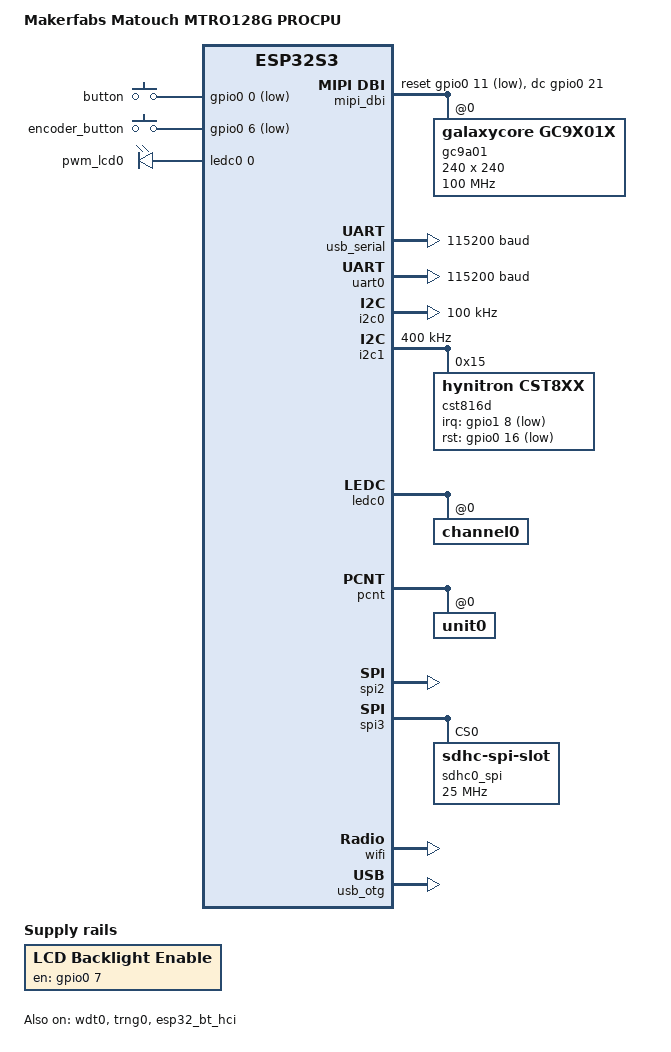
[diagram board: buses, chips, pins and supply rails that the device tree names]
/*
 * Copyright (c) 2026 Sahaj Sarup
 *
 * SPDX-License-Identifier: Apache-2.0
 */
/dts-v1/;

#include <zephyr/dt-bindings/display/panel.h>
#include <zephyr/dt-bindings/mipi_dbi/mipi_dbi.h>
#include <espressif/esp32s3/esp32s3_common.dtsi>
#include <zephyr/dt-bindings/input/input-event-codes.h>
#include <zephyr/dt-bindings/pwm/pwm.h>
#include <zephyr/dt-bindings/input/esp32-touch-sensor-input.h>
#include <espressif/partitions_0x0_amp.dtsi>
#include "matouch_mtro128g-pinctrl.dtsi"

/ {
	model = "Makerfabs Matouch MTRO128G PROCPU";
	compatible = "espressif,esp32s3";

	aliases {
		i2c-0 = &i2c0;
		pwm-0 = &ledc0;
		pwm-lcd0 = &pwm_lcd0;
		watchdog0 = &wdt0;
		uart-0 = &uart0;
		sw0 = &button;
		qdec0 = &pcnt;
	};

	chosen {
		zephyr,sram = &sram1;
		zephyr,console = &usb_serial;
		zephyr,shell-uart = &usb_serial;
		zephyr,flash = &flash0;
		zephyr,code-partition = &slot0_partition;
		zephyr,bt-hci = &esp32_bt_hci;
		zephyr,display = &gc9a01;
		zephyr,touch = &cst816d;
	};

	keys: keys {
		compatible = "gpio-keys";
		debounce-interval-ms = <10>;

		button: button {
			gpios = <&gpio0 0 (GPIO_ACTIVE_LOW | GPIO_PULL_UP)>;
			zephyr,code = <INPUT_KEY_0>;
		};

		encoder_button: encoder_button {
			gpios = <&gpio0 6 (GPIO_ACTIVE_LOW | GPIO_PULL_UP)>;
			zephyr,code = <INPUT_KEY_ENTER>;
		};
	};

	lcd_backlight_en {
		compatible = "regulator-fixed";
		regulator-name = "LCD Backlight Enable";
		enable-gpios = <&gpio0 7 GPIO_ACTIVE_HIGH>;
		regulator-boot-on;
	};

	pwmleds {
		compatible = "pwm-leds";

		pwm_lcd0: pwm_lcd0 {
			pwms = <&ledc0 0 PWM_HZ(250) PWM_POLARITY_NORMAL>;
		};
	};

	mipi_dbi {
		compatible = "zephyr,mipi-dbi-spi";
		status = "okay";
		#address-cells = <1>;
		#size-cells = <0>;
		spi-dev = <&spi2>;
		dc-gpios = <&gpio0 21 GPIO_ACTIVE_HIGH>;
		reset-gpios = <&gpio0 11 GPIO_ACTIVE_LOW>;
		write-only;

		gc9a01: gc9a01@0 {
			status = "okay";
			compatible = "galaxycore,gc9x01x";
			reg = <0>;
			mipi-max-frequency = <DT_FREQ_M(100)>;
			pixel-format = <PANEL_PIXEL_FORMAT_RGB_565>;
			display-inversion;
			width = <240>;
			height = <240>;
		};
	};
};

&usb_serial {
	status = "okay";
	current-speed = <115200>;
};

&uart0 {
	status = "okay";
	current-speed = <115200>;
	pinctrl-0 = <&uart0_default>;
	pinctrl-names = "default";
};

&gpio0 {
	status = "okay";
};

&gpio1 {
	status = "okay";
};

&i2c0 {
	clock-frequency = <I2C_BITRATE_STANDARD>;
	pinctrl-0 = <&i2c0_default>;
	pinctrl-names = "default";
};

&i2c1 {
	clock-frequency = <I2C_BITRATE_FAST>;
	pinctrl-0 = <&i2c1_default>;
	pinctrl-names = "default";
	#address-cells = <1>;
	#size-cells = <0>;
	status = "okay";

	cst816d: cst816d@15 {
		compatible = "hynitron,cst8xx";
		reg = <0x15>;
		irq-gpios = <&gpio1 8 GPIO_ACTIVE_LOW>;
		rst-gpios = <&gpio0 16 GPIO_ACTIVE_LOW>;
	};
};

&ledc0 {
	status = "okay";
	pinctrl-0 = <&ledc0_default>;
	pinctrl-names = "default";
	#address-cells = <1>;
	#size-cells = <0>;

	channel0@0 {
		reg = <0x0>;
		timer = <0>;
	};
};

&pcnt {
	pinctrl-0 = <&pcnt0_default>;
	pinctrl-names = "default";
	status = "okay";
	#address-cells = <1>;
	#size-cells = <0>;

	unit0@0 {
		reg = <0>;
		#address-cells = <1>;
		#size-cells = <0>;
		filter = <100>;

		channelA@0 {
			reg = <0>;
			sig-pos-mode = <2>;
			sig-neg-mode = <1>;
			ctrl-h-mode = <0>;
			ctrl-l-mode = <1>;
		};
	};
};

&spi2 {
	#address-cells = <1>;
	#size-cells = <0>;
	status = "okay";
	pinctrl-0 = <&spim2_default>;
	pinctrl-names = "default";
};

&spi3 {
	#address-cells = <1>;
	#size-cells = <0>;
	status = "okay";
	pinctrl-0 = <&spim3_default>;
	pinctrl-names = "default";

	sdhc0_spi: sdhc@0 {
		compatible = "zephyr,sdhc-spi-slot";
		reg = <0>;
		spi-max-frequency = <25000000>;

		mmc {
			compatible = "zephyr,sdmmc-disk";
			disk-name = "SD";
		};
	};
};

&timer0 {
	status = "disabled";
};

&timer1 {
	status = "disabled";
};

&timer2 {
	status = "disabled";
};

&timer3 {
	status = "disabled";
};

&wdt0 {
	status = "okay";
};

&trng0 {
	status = "okay";
};

&esp32_bt_hci {
	status = "okay";
};

&wifi {
	status = "okay";
};

/* 16MB flash */
&flash0 {
	reg = <0x0 DT_SIZE_M(16)>;
	ranges = <0x0 0x0 DT_SIZE_M(16)>;
};

zephyr_udc0: &usb_otg {
	status = "okay";
};
